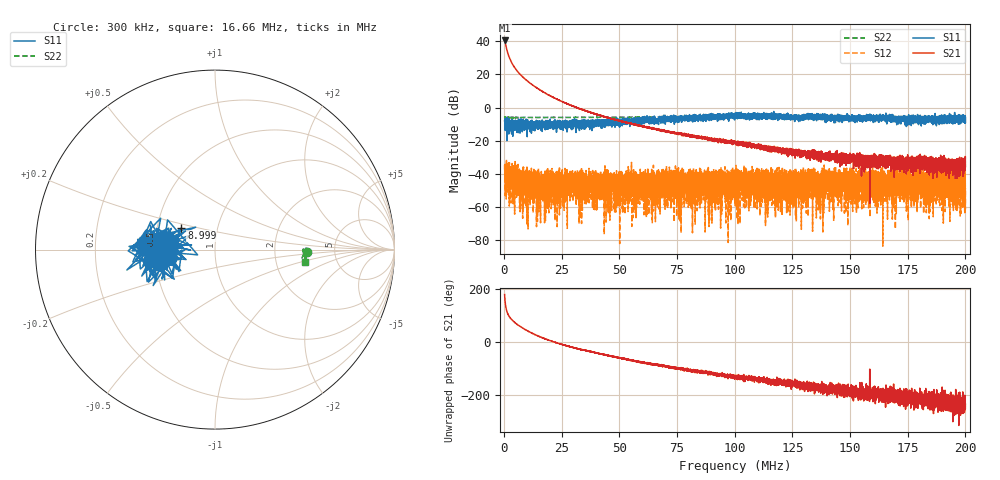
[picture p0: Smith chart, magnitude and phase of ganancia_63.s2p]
# Hz S DB R 50
! CMT, M5065, 19127446, 24.2.4/2
! Date: 10/29/2024 12:55:00 PM
! Data: Format (Calibration Info)
! Freq	S11:dB/Ang(F2)	S21:dB/Ang(F2)	S12:dB/Ang(F2)	S22:dB/Ang(F2)
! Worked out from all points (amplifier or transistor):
!   9000 points, 300 kHz to 200 MHz, reference 50 ohm
!   highest |S21| = 40.5 dB at 322.2 kHz (marker M1)
!   |S21| within 3 dB of that: start of sweep to 842.9 kHz
!   unconditionally stable (mu >= 1): 3.563 MHz to 4.048 MHz; 4.052 MHz to 4.847 MHz; 4.854 MHz to end of sweep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
!   at 33.59 MHz: K = 56.74, MAG = 0.9 dB, |S12| = -44.1 dB
!   at 100.2 MHz: K = 2399.96, MAG = -17.6 dB, |S12| = -59.1 dB
!   at 200 MHz: K = 4229.37, MAG = -32.9 dB, |S12| = -48.4 dB
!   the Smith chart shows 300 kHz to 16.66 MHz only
!   S11 on the Smith chart (normalised r, x): 300 kHz: 0.43, +0.01; 8.999 MHz: 0.67, +0.17; 16.66 MHz: 0.45, +0.01
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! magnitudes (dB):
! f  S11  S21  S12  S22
! 300 kHz  -7.9  40.4  -37.2  -5.8
! 322.2 kHz  -8.4  40.5  -34.8  -5.7
! 3.695 MHz  -11.5  26.2  -38.6  -6.0
! 8.999 MHz  -13.1  17.5  -49.4  -5.9
! 16.66 MHz  -8.3  9.8  -52.6  -5.9
! 33.59 MHz  -8.3  -1.1  -44.1  -5.9
! 66.87 MHz  -6.9  -13.1  -45.8  -5.7
! 69.18 MHz  -6.3  -14.3  -44.2  -5.7
! 71.96 MHz  -5.2  -14.6  -53.1  -5.7
! 74.18 MHz  -6.4  -15.7  -49.1  -5.7
! 76.15 MHz  -6.1  -15.7  -46.1  -5.7
! 79.57 MHz  -7.2  -16.3  -39.2  -5.6
! 89.6 MHz  -4.6  -18.8  -48.6  -5.6
! 100.2 MHz  -4.9  -20.6  -59.1  -5.7
! 126.2 MHz  -6.2  -30.4  -52.3  -5.4
! 133.4 MHz  -4.1  -28.4  -45.4  -5.4
! 166.7 MHz  -5.2  -31.3  -39.3  -5.3
! 180.4 MHz  -7.6  -33.2  -43.8  -5.4
! 183.8 MHz  -6.2  -32.6  -40.7  -5.4
! 187.7 MHz  -6.1  -35.9  -37.2  -5.4
! 198 MHz  -6.3  -32.4  -41.3  -5.5
! 200 MHz  -6.1  -35.5  -48.4  -5.4
